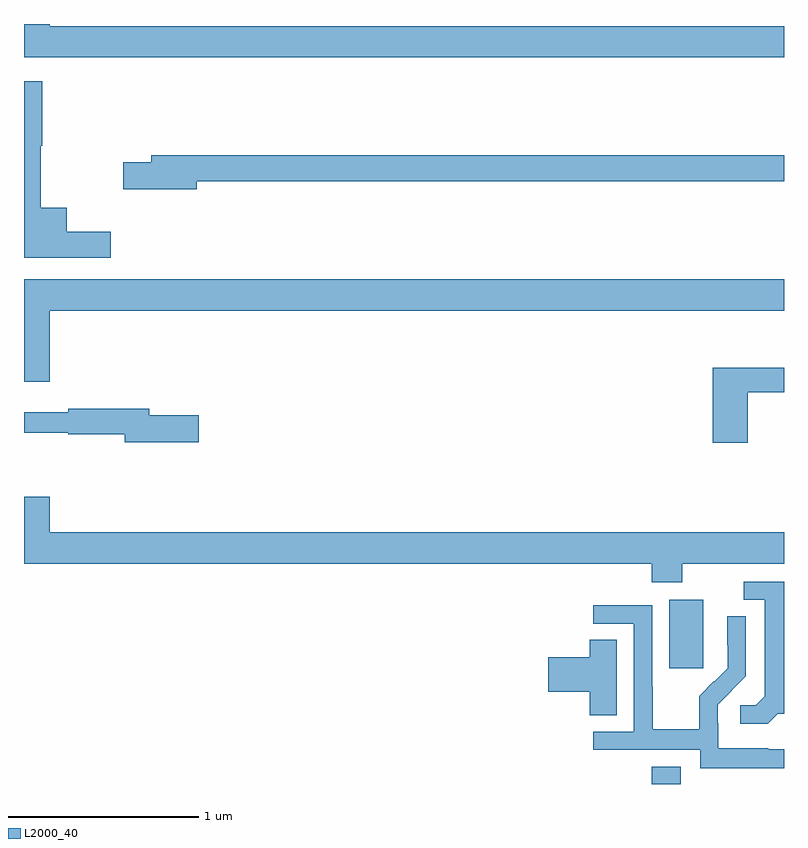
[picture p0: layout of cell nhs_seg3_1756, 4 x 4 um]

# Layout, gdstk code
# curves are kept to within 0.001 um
import gdstk
lib = gdstk.Library(unit=1e-6, precision=1e-09)
def R(c, l, rs):  # rectangles x0, y0, x1, y1
    for r in rs: c.add(gdstk.rectangle(r[:2], r[2:], *l))
def P(c, l, *ps):  # polygons
    for p in ps: c.add(gdstk.Polygon(p, *l))
L2000_40 = (2000, 40)

nhs_seg3_1756 = lib.new_cell('nhs_seg3_1756')
R(nhs_seg3_1756, L2000_40, [(204.305,722.4,204.457,722.491), (204.395,723.009,204.574,723.37)])
P(nhs_seg3_1756, L2000_40, [(205,726.388),(201.136,726.388),(201.136,726.4),(201,726.4),(201,726.224),(205,726.224)],
  [(201.457,725.306),(201.226,725.306),(201.226,725.434),(201.089,725.434),(201.089,725.759),(201.097,725.759),(201.097,726.1),(201,726.1),(201,725.171),(201.457,725.171)],
  [(201.91,725.572),(205,725.572),(205,725.708),(201.671,725.708),(201.671,725.672),(201.522,725.672),(201.522,725.53),(201.91,725.53)],
  [(201.136,724.892),(205,724.892),(205,725.056),(201,725.056),(201,724.518),(201.136,724.518)],
  [(204.809,724.462),(205,724.462),(205,724.591),(204.626,724.591),(204.626,724.197),(204.809,724.197)],
  [(201.919,724.34),(201.658,724.34),(201.658,724.376),(201.232,724.376),(201.232,724.357),(201,724.357),(201,724.248),(201.234,724.248),(201.234,724.24),(201.53,724.24),(201.53,724.198),(201.919,724.198)],
  [(204.465,723.56),(205,723.56),(205,723.724),(201.136,723.724),(201.136,723.913),(201,723.913),(201,723.56),(204.305,723.56),(204.305,723.461),(204.465,723.461)],
  [(204.966,722.769),(205,722.769),(205,723.465),(204.789,723.465),(204.789,723.369),(204.899,723.369),(204.899,722.861),(204.852,722.814),(204.771,722.814),(204.771,722.717),(204.914,722.717)],
  [(205,722.583),(204.917,722.583),(204.917,722.587),(204.654,722.587),(204.654,722.721),(204.652,722.721),(204.652,722.818),(204.798,722.966),(204.798,723.284),(204.702,723.284),(204.702,723.13),(204.704,723.13),(204.704,723.008),(204.633,722.937),(204.63,722.94),(204.553,722.863),(204.553,722.689),(204.309,722.689),(204.309,722.912),(204.306,722.912),(204.306,723.342),(203.997,723.342),(203.997,723.243),(204.21,723.243),(204.21,722.676),(203.997,722.676),(203.997,722.58),(204.558,722.58),(204.558,722.483),(205,722.483)],
  [(204.121,723.158),(203.978,723.158),(203.978,723.068),(203.76,723.068),(203.76,722.885),(203.978,722.885),(203.978,722.761),(204.121,722.761)])

lib.write_gds('nhs_seg3_1756.gds')
